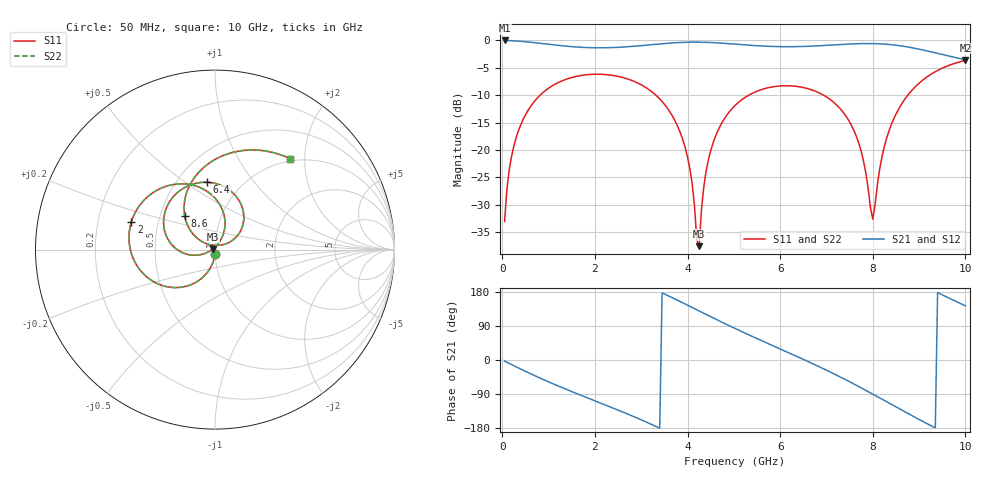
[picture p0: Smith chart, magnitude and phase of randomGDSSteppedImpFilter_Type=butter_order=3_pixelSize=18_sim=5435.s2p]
! freq	dB(S11)	phase(S11)	dB(S12)	phase(S12)
!  dB(S21)	phase(S21)	dB(S22)	phase(S22)
!S-par simulation data
#  GHz  S  DB  R 50
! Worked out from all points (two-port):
!   200 points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, 50 MHz to 10 GHz, reference 50 ohm
!   highest |S21| = -0.02 dB at 50 MHz (marker M1); lowest = -3.6 dB at 10 GHz (marker M2)
!   |S21| within 3 dB of the highest: start of sweep to 9.717 GHz
!   lowest |S11| = -37.5 dB at 4.25 GHz (marker M3), VSWR 1.03, Z = 48.7 + j0.344 ohm
!   |S11| at or under -10 dB: start of sweep to 817.2 MHz; 3.316 GHz to 5.322 GHz (2.006 GHz wide, 46.4 % of centre); 6.938 GHz to 8.757 GHz (1.819 GHz wide, 23.2 % of centre)
!   |S22| runs from -37.8 to -3.7 dB; largest |S21 - S12| = 0
!   S11 on the Smith chart (normalised r, x): 50 MHz: 1.00, -0.04; 2 GHz: 0.35, +0.14; 6.4 GHz: 0.69, +0.61; 8.6 GHz: 0.67, +0.27; 10 GHz: 0.95, +1.70
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0.05  -33.03 -90.2  -0.02 -3.1  -0.02 -3.1  -33.03 -90.2
0.2  -21.15 -101.6  -0.06 -12.1  -0.06 -12.1  -21.15 -101.6
0.5  -13.59 -120.0  -0.25 -29.8  -0.25 -29.8  -13.59 -120.0
1.1  -8.18 -153.4  -0.81 -63.0  -0.81 -63.0  -8.18 -153.4
1.75  -6.35 174.0  -1.29 -95.6  -1.29 -95.6  -6.35 174.0
2  -6.18 161.9  -1.35 -107.7  -1.35 -107.7  -6.18 161.9
3.4  -10.69 91.0  -0.65 -179.9  -0.65 -179.9  -10.69 91.0
3.95  -19.59 62.6  -0.35 147.7  -0.35 147.7  -19.59 62.3
4.25  -37.54 164.6  -0.33 129.4  -0.33 129.4  -37.81 165.9
4.35  -26.77 -160.1  -0.35 123.3  -0.35 123.3  -26.79 -159.5
4.5  -20.14 -162.1  -0.39 114.3  -0.39 114.3  -20.14 -161.8
5.05  -11.69 169.5  -0.70 81.8  -0.70 81.8  -11.69 169.6
5.75  -8.62 131.6  -1.09 42.7  -1.09 42.7  -8.62 131.7
6.4  -8.45 96.9  -1.14 7.2  -1.14 7.2  -8.45 97.0
6.7  -9.08 80.7  -1.05 -9.5  -1.05 -9.5  -9.08 80.7
7.6  -16.57 32.0  -0.63 -63.7  -0.63 -63.7  -16.57 32.0
7.8  -22.00 27.1  -0.58 -76.7  -0.58 -76.7  -22.00 27.0
8  -32.61 90.8  -0.59 -90.0  -0.59 -90.0  -32.69 90.9
8.35  -16.52 144.8  -0.75 -113.6  -0.75 -113.6  -16.52 144.9
8.6  -11.92 131.8  -1.00 -130.6  -1.00 -130.6  -11.93 131.9
9.2  -6.50 95.7  -1.98 -169.8  -1.98 -169.8  -6.50 95.7
10  -3.66 50.6  -3.56 143.2  -3.56 143.2  -3.66 50.6
